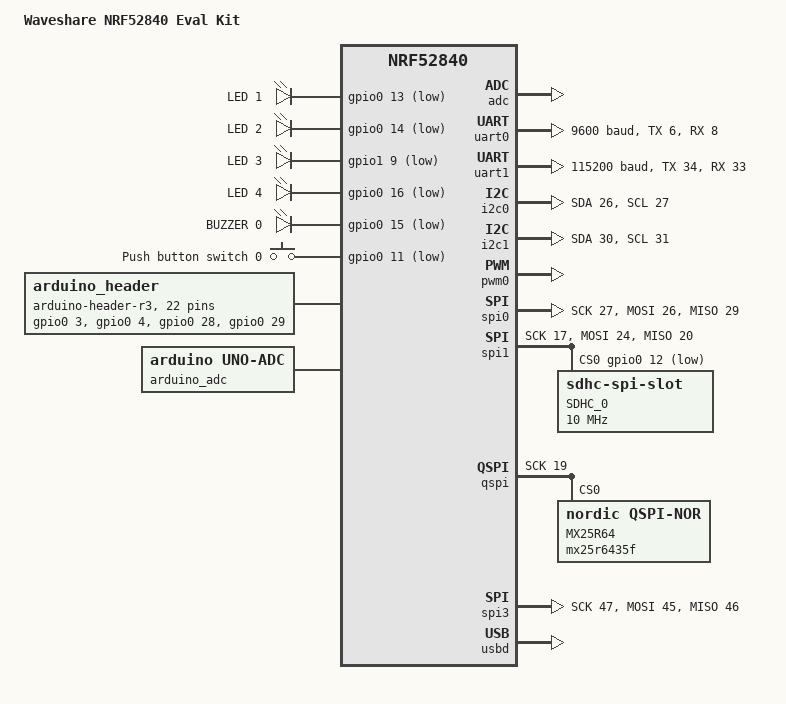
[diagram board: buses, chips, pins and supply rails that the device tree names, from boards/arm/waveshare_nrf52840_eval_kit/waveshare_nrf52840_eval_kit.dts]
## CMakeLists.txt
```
cmake_minimum_required(VERSION 3.22)

set(BOARD_ROOT ${CMAKE_CURRENT_SOURCE_DIR}/)

find_package(Zephyr REQUIRED HINTS $ENV{ZEPHYR_BASE})

project(fieldfare-zephyr)

add_subdirectory(src)

include_directories(src)
```

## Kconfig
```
config USB_DEVICE_PID
	default 0x0008

config APP_WIPE_STORAGE
	bool "Option to clear the flash area before mounting"
	help
	  Use this to force an existing file system to be created.

choice
	prompt "Storage and file system type used by the application"
	default APP_MSC_STORAGE_NONE
	help
	  Specify the type of storage and file system.

config APP_MSC_STORAGE_NONE
	bool "No block device"
	imply DISK_DRIVER_SDMMC

config APP_MSC_STORAGE_FLASH_FATFS
	bool "Use FLASH disk and FAT file system"
	imply DISK_DRIVER_FLASH
	imply FILE_SYSTEM
	imply FAT_FILESYSTEM_ELM

config APP_MSC_STORAGE_FLASH_LITTLEFS
	bool "Use FLASH disk and LittleFS"
	imply DISK_DRIVER_FLASH
	imply FILE_SYSTEM
	imply FILE_SYSTEM_LITTLEFS

config APP_MSC_STORAGE_SDCARD
	bool "Use SDHC and FAT file system"
	# imply DISK_DRIVER_SDMMC
	# imply FILE_SYSTEM
	# imply FAT_FILESYSTEM_ELM
	select SDHC
	select SPI_SDHC
	select SDMMC_SUBSYS
	select DISK_DRIVER_SDMMC

endchoice

config MASS_STORAGE_DISK_NAME
	default "NAND" if DISK_DRIVER_FLASH
	default "SD" if DISK_DRIVER_SDMMC

source "Kconfig.zephyr"
```

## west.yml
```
manifest:

  self:
    path: fieldfare-zephyr
  
  remotes:
    - name: zephyrproject-rtos
      url-base: https://github.com/zephyrproject-rtos
 
  projects:
  
    - name: zephyr
      remote: zephyrproject-rtos
      revision: v3.1.0
      import: true

    - name: zephyr_jerryscript
      url: https://github.com/moduhub/zephyr_jerryscript
      revision: master
      path: modules/lib/jerryscript
```

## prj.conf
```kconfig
CONFIG_MAIN_STACK_SIZE=4096
CONFIG_JERRYSCRIPT=y
CONFIG_NEWLIB_LIBC=y
```

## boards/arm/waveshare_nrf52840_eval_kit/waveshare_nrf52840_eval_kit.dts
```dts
/*
 * Copyright (c) 2022 Igor José Langer
 *
 * SPDX-License-Identifier: Apache-2.0
 */

/dts-v1/;
#include <nordic/nrf52840_qiaa.dtsi>

/ {
	model = "Waveshare NRF52840 Eval Kit";
    compatible = "nordic,pca10056-dk";

	chosen {
		zephyr,console = &uart0;
		zephyr,shell-uart = &uart0;
		zephyr,uart-mcumgr = &uart0;
		zephyr,bt-mon-uart = &uart0;
		zephyr,bt-c2h-uart = &uart0;
		zephyr,sram = &sram0;
		zephyr,flash = &flash0;
		zephyr,code-partition = &slot0_partition;
	};

	leds {
		compatible = "gpio-leds";
		led0: led_0 {
			gpios = <&gpio0 13 GPIO_ACTIVE_LOW>;
			label = "LED 1";
		};
		led1: led_1 {
			gpios = <&gpio0 14 GPIO_ACTIVE_LOW>;
			label = "LED 2";
		};
		led2: led_2 {
			gpios = <&gpio1 9 GPIO_ACTIVE_LOW>;
			label = "LED 3";
		};
		led3: led_3 {
			gpios = <&gpio0 16 GPIO_ACTIVE_LOW>;
			label = "LED 4";
		};
		led4: led_4 {
			gpios = <&gpio0 15 GPIO_ACTIVE_LOW>;
			label = "BUZZER 0";
		};
	};
    /*
	pwmleds {
		compatible = "pwm-leds";
		pwm_led0: pwm_led_0 {
			pwms = <&pwm0 13>;
		};
	};
    */
	buttons {
		compatible = "gpio-keys";
		button0: button_0 {
			gpios = <&gpio0 11 (GPIO_PULL_UP | GPIO_ACTIVE_LOW)>;
			label = "Push button switch 0";
		};
	};

	arduino_header: connector {
		compatible = "arduino-header-r3";
		#gpio-cells = <2>;
		gpio-map-mask = <0xffffffff 0xffffffc0>;
		gpio-map-pass-thru = <0 0x3f>;
		gpio-map = <0 0 &gpio0 3 0>,	/* A0 */
			   <1 0 &gpio0 4 0>,	/* A1 */
			   <2 0 &gpio0 28 0>,	/* A2 */
			   <3 0 &gpio0 29 0>,	/* A3 */
			   <4 0 &gpio0 30 0>,	/* A4 */
			   <5 0 &gpio0 31 0>,	/* A5 */
			   <6 0 &gpio1 1 0>,	/* D0 */
			   <7 0 &gpio1 2 0>,	/* D1 */
			   <8 0 &gpio1 3 0>,	/* D2 */
			   <9 0 &gpio1 4 0>,	/* D3 */
			   <10 0 &gpio1 5 0>,	/* D4 */
			   <11 0 &gpio1 6 0>,	/* D5 */
			   <12 0 &gpio1 7 0>,	/* D6 */
			   <13 0 &gpio1 8 0>,	/* D7 */
			   <14 0 &gpio1 10 0>,	/* D8 */
			   <15 0 &gpio1 11 0>,	/* D9 */
			   <16 0 &gpio1 12 0>,	/* D10 */
			   <17 0 &gpio1 13 0>,	/* D11 */
			   <18 0 &gpio1 14 0>,	/* D12 */
			   <19 0 &gpio1 15 0>,	/* D13 */
			   <20 0 &gpio0 26 0>,	/* D14 */
			   <21 0 &gpio0 27 0>;	/* D15 */
	};

	arduino_adc: analog-connector {
		compatible = "arduino,uno-adc";
		#io-channel-cells = <1>;
		io-channel-map = <0 &adc 1>,	/* A0 = P0.3 = AIN1 */
				 <1 &adc 2>,	/* A1 = P0.4 = AIN2 */
				 <2 &adc 4>,	/* A2 = P0.28 = AIN4 */
				 <3 &adc 5>,	/* A3 = P0.29 = AIN5 */
				 <4 &adc 6>,	/* A4 = P0.30 = AIN6 */
				 <5 &adc 7>;	/* A5 = P0.31 = AIN7 */
	};

	/* These aliases are provided for compatibility with samples */
	aliases {
		led0 = &led0;
		led1 = &led1;
		led2 = &led2;
		led3 = &led3;
		buzzer0 = &led4;
		/* pwm-led0 = &pwm_led0; */
		sw0 = &button0;
		bootloader-led0 = &led0;
	};
};

&adc {
	status = "okay";
};

&gpiote {
	status = "okay";
};

&gpio0 {
	status = "okay";
};

&gpio1 {
	status = "okay";
};

&uart0 {
	compatible = "nordic,nrf-uarte";
	status = "okay";
	current-speed = <9600>;
	tx-pin = <6>;
	rx-pin = <8>;
	rx-pull-up;
    /*
	rts-pin = <5>;
	cts-pin = <7>;
	cts-pull-up;
    */
};

arduino_serial: &uart1 {
	status = "okay";
	current-speed = <115200>;
	rx-pin = <33>;
	rx-pull-up;
	tx-pin = <34>;
};

arduino_i2c: &i2c0 {
	compatible = "nordic,nrf-twi";
    /* status = "okay"; */
	sda-pin = <26>;
	scl-pin = <27>;
};

&i2c1 {
	compatible = "nordic,nrf-twi";
	/* Cannot be used together with spi1. */
	/* status = "okay"; */
	sda-pin = <30>;
	scl-pin = <31>;
};

&pwm0 {
	status = "okay";
	ch0-pin = <13>;
	ch0-inverted;
};

&spi0 {
	compatible = "nordic,nrf-spi";
	/* Cannot be used together with i2c0. */
	/* status = "okay"; */
	sck-pin = <27>;
	mosi-pin = <26>;
	miso-pin = <29>;
};

&spi1 {
	compatible = "nordic,nrf-spi";
	status = "okay";
    sck-pin = <17>;
	mosi-pin = <24>;
	miso-pin = <20>;
	
    cs-gpios = <&gpio0 12 GPIO_ACTIVE_LOW>;

    sdhc0: sdhc@0 {
        compatible = "zephyr,sdhc-spi-slot";
        reg = <0>;
        status = "okay";
        label = "SDHC_0";
        mmc {
            compatible = "zephyr,sdmmc-disk";
            status = "okay";
            label = "SDMMC_0";
        };
        spi-max-frequency = <10000000>;
    };
};

&spi2 {
	compatible = "nordic,nrf-spi";
	status = "disabled";
	sck-pin = <19>;
	mosi-pin = <20>;
	miso-pin = <21>;
};

&qspi {
	status = "okay";
	sck-pin = <19>;
	io-pins = <20>, <21>, <22>, <23>;
	csn-pins = <17>;
	mx25r64: mx25r6435f@0 {
		compatible = "nordic,qspi-nor";
		reg = <0>;
		/* MX25R64 supports only pp and pp4io */
		writeoc = "pp4io";
		/* MX25R64 supports all readoc options */
		readoc = "read4io";
		sck-frequency = <8000000>;
		label = "MX25R64";
		jedec-id = [c2 28 17];
		sfdp-bfp = [
			e5 20 f1 ff  ff ff ff 03  44 eb 08 6b  08 3b 04 bb
			ee ff ff ff  ff ff 00 ff  ff ff 00 ff  0c 20 0f 52
			10 d8 00 ff  23 72 f5 00  82 ed 04 cc  44 83 68 44
			30 b0 30 b0  f7 c4 d5 5c  00 be 29 ff  f0 d0 ff ff
		];
		size = <67108864>;
		has-dpd;
		t-enter-dpd = <10000>;
		t-exit-dpd = <35000>;
	};
};

arduino_spi: &spi3 {
	status = "okay";
	sck-pin = <47>;
	miso-pin = <46>;
	mosi-pin = <45>;
	cs-gpios = <&arduino_header 16 GPIO_ACTIVE_LOW>; /* D10 */
};

&flash0 {

	partitions {
		compatible = "fixed-partitions";
		#address-cells = <1>;
		#size-cells = <1>;

		boot_partition: partition@0 {
			label = "mcuboot";
			reg = <0x000000000 0x0000C000>;
		};
		slot0_partition: partition@c000 {
			label = "image-0";
			reg = <0x0000C000 0x00067000>;
		};
		slot1_partition: partition@73000 {
			label = "image-1";
			reg = <0x00073000 0x00067000>;
		};
		scratch_partition: partition@da000 {
			label = "image-scratch";
			reg = <0x000da000 0x0001e000>;
		};

		/*
		 * The flash starting at 0x000f8000 and ending at
		 * 0x000fffff is reserved for use by the application.
		 */

		/*
		 * Storage partition will be used by FCB/LittleFS/NVS
		 * if enabled.
		 */
		storage_partition: partition@f8000 {
			label = "storage";
			reg = <0x000f8000 0x00008000>;
		};
	};
};

zephyr_udc0: &usbd {
	compatible = "nordic,nrf-usbd";
	status = "okay";
};
```

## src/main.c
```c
#include <zephyr/zephyr.h>
#include "jerry/jerry_main.h"

#define JS_STACK_SIZE 4096
#define JS_PRIORITY 5

/* Start Jerry engine on a new thread */
// K_THREAD_DEFINE(js_tid, JS_STACK_SIZE,
//                 jerry_start, NULL, NULL, NULL,
//                 JS_PRIORITY, 0, 0);

K_THREAD_STACK_DEFINE(jz_stack_area, JS_STACK_SIZE);
struct k_thread jz_thread_data;

void main() {
    printk("Zephyr main() start\n");
    
    printk("Initializing JerryScript thread\n");
    k_tid_t js_tid = k_thread_create(&jz_thread_data, jz_stack_area,
                                 K_THREAD_STACK_SIZEOF(jz_stack_area),
                                 jz_main,
                                 NULL, NULL, NULL,
                                 JS_PRIORITY, 0, K_NO_WAIT);

    printk("js thread id: %d\n", js_tid);

    while(1) {
        //blink led?
        printk("Main thread alive...\n");
        k_sleep(K_MSEC(1000));
    }
}
```

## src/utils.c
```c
#include "utils.h"

int utils_check_flag(const utils_flag_t flags, utils_flag_t mask)
{
    if (((flags) & (mask)) == 0)
    {
        return 0;
    }
    return 1;
}

void utils_set_flag(utils_flag_t *flags, utils_flag_t mask)
{
    (*flags) = (*flags) | mask;
}

void utils_clear_flag(utils_flag_t *flags, utils_flag_t mask)
{
    (*flags) = (*flags) & ~mask;
}
```

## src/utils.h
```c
#ifndef _UTILS_H_
#define _UTILS_H_

#include <stdint.h>

typedef uint32_t utils_flag_t;

int utils_check_flag(const utils_flag_t flags, utils_flag_t mask);
void utils_set_flag(utils_flag_t *flags, utils_flag_t mask);
void utils_clear_flag(utils_flag_t *flags, utils_flag_t mask);

#endif //_UTILS_H_
```
